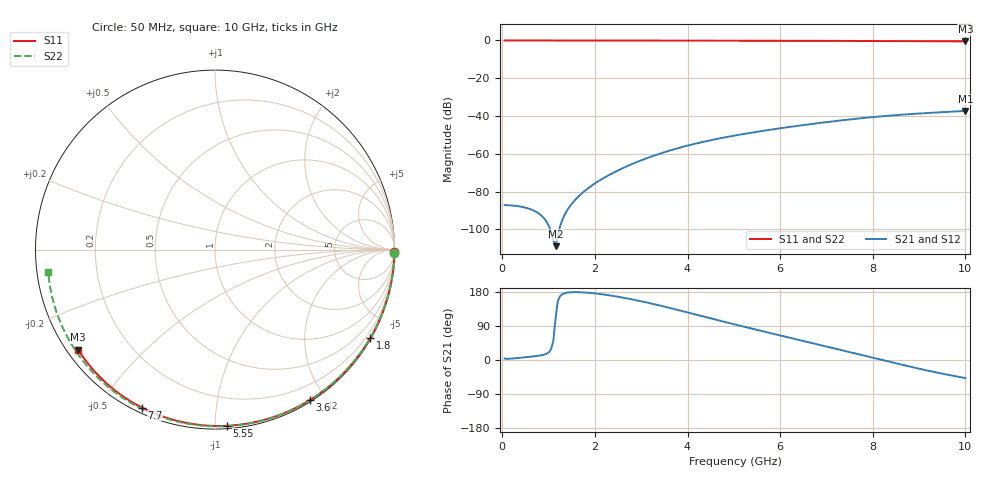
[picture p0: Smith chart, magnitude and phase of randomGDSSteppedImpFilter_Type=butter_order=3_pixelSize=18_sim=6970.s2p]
! freq	dB(S11)	phase(S11)	dB(S12)	phase(S12)
!  dB(S21)	phase(S21)	dB(S22)	phase(S22)
!S-par simulation data
#  GHz  S  DB  R 50
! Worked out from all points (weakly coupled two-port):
!   200 points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, 50 MHz to 10 GHz, reference 50 ohm
!   highest |S21| = -37.30 dB at 10 GHz (marker M1); lowest = -108.8 dB at 1.15 GHz (marker M2)
!   lowest |S11| = -0.5 dB at 10 GHz (marker M3), VSWR 34.81, Z = 1.59 - j16.3 ohm
!   |S11| at or under -10 dB: nowhere
!   |S22| runs from -0.6 to 0.0 dB; largest |S21 - S12| = 0
!   S11 on the Smith chart (normalised r, x): 50 MHz: open; 1.8 GHz: 0.03, -3.78; 3.6 GHz: 0.02, -1.81; 5.55 GHz: 0.02, -1.07; 7.7 GHz: 0.02, -0.64; 10 GHz: 0.03, -0.33
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0.05  -0.00 -0.8  -87.13 3.9  -87.13 3.9  -0.00 -1.0
0.6  -0.01 -10.0  -89.23 8.6  -89.23 8.6  -0.01 -12.0
1.15  -0.02 -19.1  -108.84 108.8  -108.84 108.8  -0.03 -22.9
1.75  -0.04 -28.8  -80.22 178.4  -80.22 178.4  -0.04 -34.5
1.8  -0.04 -29.6  -79.22 178.0  -79.22 178.0  -0.05 -35.5
1.95  -0.04 -32.0  -76.49 176.4  -76.49 176.4  -0.05 -38.4
2.1  -0.04 -34.4  -74.09 174.3  -74.09 174.3  -0.05 -41.2
2.3  -0.05 -37.6  -71.26 170.9  -71.26 170.9  -0.06 -45.0
2.5  -0.05 -40.8  -68.74 166.9  -68.74 166.9  -0.06 -48.8
2.95  -0.06 -47.8  -63.90 156.3  -63.90 156.3  -0.07 -57.1
3.4  -0.07 -54.7  -59.92 143.8  -59.92 143.8  -0.09 -65.3
3.6  -0.08 -57.8  -58.38 137.9  -58.38 137.9  -0.09 -68.9
4.25  -0.10 -67.5  -54.15 117.7  -54.15 117.7  -0.11 -80.3
4.65  -0.11 -73.3  -52.03 105.3  -52.03 105.3  -0.13 -87.1
5.05  -0.12 -79.0  -50.17 93.0  -50.17 93.0  -0.14 -93.8
5.55  -0.14 -86.1  -48.12 78.0  -48.12 78.0  -0.17 -102.1
6.1  -0.17 -93.6  -46.11 61.9  -46.11 61.9  -0.20 -110.9
6.7  -0.20 -101.7  -44.13 44.5  -44.13 44.5  -0.24 -120.4
7.7  -0.26 -114.8  -41.28 14.8  -41.28 14.8  -0.31 -136.0
8.35  -0.32 -123.2  -39.81 -4.5  -39.81 -4.5  -0.37 -146.1
9.2  -0.40 -133.9  -38.35 -28.4  -38.35 -28.4  -0.46 -159.4
10  -0.50 -143.8  -37.30 -47.6  -37.30 -47.6  -0.56 -172.3
